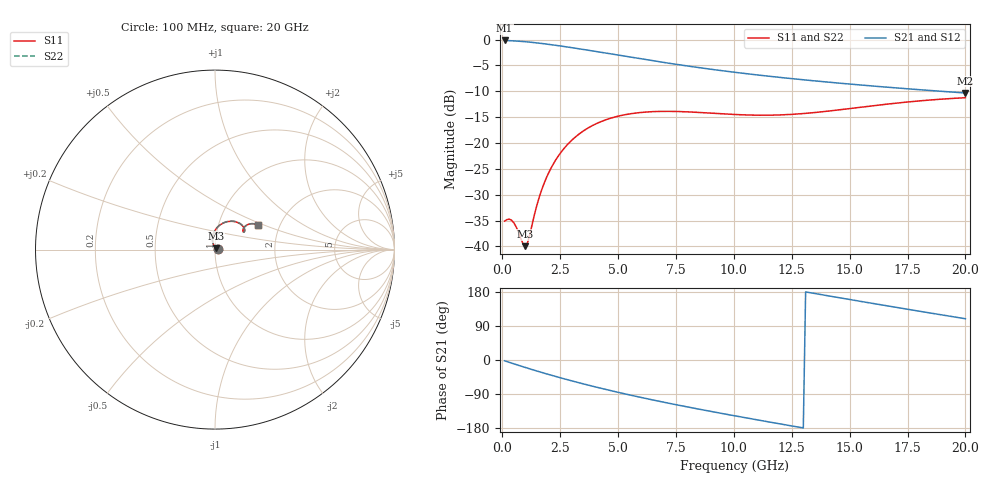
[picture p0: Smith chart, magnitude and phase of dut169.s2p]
! Touchstone file exported from HFSS 2024.1.0
!  File:  C:/UserFiles/LocalFiles/RDL_TSV_Batchsim/temp_RDL_TSV_169_1779436280.aedt
!  Generated:  04:09:20 PM May 22, 2026
!  Design:  RDL_TSV
!  Project:  temp_RDL_TSV_169_1779436280
!  Setup:  Setup1
!  Solution:  Sweep
! Variables:
!  dtsv = 9.2um
!  hbump = 3um
!  htsv = 77.1um
!  ldown = 601.02um
!  lrdl = 506.24um
!  p = 40
!  p1 = 42.84um
!  rhole = 10um
!  subl = 3828.02um
!  t = 450um
!  tdown = 4.84um
!  trdl = 2.7um
!  viad = 10um
!  wdown = 19.83um
!  wrdl = 27.05um
!  xbump = 18um
# GHz S MA R 50.000000
! Terminal data exported
! Port[1] = TM1_1_T1
! Port[2] = TM1_4_T1
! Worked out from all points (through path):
!   200 points, 100 MHz to 20 GHz, reference 50 ohm
!   highest |S21| = -0.16 dB at 100 MHz (marker M1); lowest = -10.3 dB at 20 GHz (marker M2)
!   group delay of S21, straight-line fit = 33.3 ps
!   lowest |S11| = -40.0 dB at 1 GHz (marker M3), VSWR 1.02, Z = 50.6 + j0.825 ohm
!   |S11| at or under -10 dB: start of sweep to end of sweep
!   |S22| runs from -40.0 to -11.2 dB; largest |S21 - S12| = 1.1e-14
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0.1  0.01759 4.5  0.982 -2.1  0.982 -2.1  0.01759 4.5
! Gamma 0 0 0 0
! Port Impedance 50 0 50 0
0.3  0.01835 7.8  0.978 -6.2  0.978 -6.2  0.01834 7.8
0.5  0.0169 9.0  0.9728 -10.1  0.9728 -10.1  0.01688 9.1
0.9  0.01051 36.3  0.9589 -17.9  0.9589 -17.9  0.01048 36.6
1  0.01005 54.2  0.9547 -19.8  0.9547 -19.8  0.01003 54.7
1.1  0.01101 73.1  0.9502 -21.7  0.9502 -21.7  0.01103 73.6
1.4  0.0208 102.4  0.9353 -27.4  0.9353 -27.4  0.02091 102.7
1.6  0.03013 107.0  0.9244 -31.0  0.9244 -31.0  0.0303 107.2
2  0.05133 105.7  0.9008 -38.2  0.9008 -38.2  0.05161 105.8
2.3  0.06812 101.7  0.8821 -43.4  0.8821 -43.4  0.06848 101.8
2.7  0.09038 95.2  0.8563 -50.1  0.8563 -50.1  0.09085 95.3
3.5  0.1308 81.8  0.8039 -63.0  0.8039 -63.0  0.1315 81.9
4.2  0.1589 71.0  0.7586 -73.7  0.7586 -73.7  0.1598 71.1
4.9  0.1794 61.5  0.7149 -83.9  0.7149 -83.9  0.1804 61.6
5.8  0.1954 51.3  0.6625 -96.3  0.6625 -96.3  0.1965 51.3
6.8  0.2021 42.5  0.6101 -109.2  0.6101 -109.2  0.2034 42.5
8.4  0.1981 33.8  0.5398 -128.6  0.5398 -128.6  0.1994 33.8
10.1  0.1885 31.2  0.4814 -148.0  0.4814 -148.0  0.1897 31.2
11.7  0.1861 33.2  0.4381 -165.5  0.4381 -165.5  0.1872 33.1
13.4  0.1963 36.4  0.4009 176.4  0.4009 176.4  0.1971 36.3
16.7  0.2388 36.6  0.3455 142.1  0.3455 142.1  0.2395 36.6
20  0.2743 29.8  0.305 108.8  0.305 108.8  0.275 29.8
